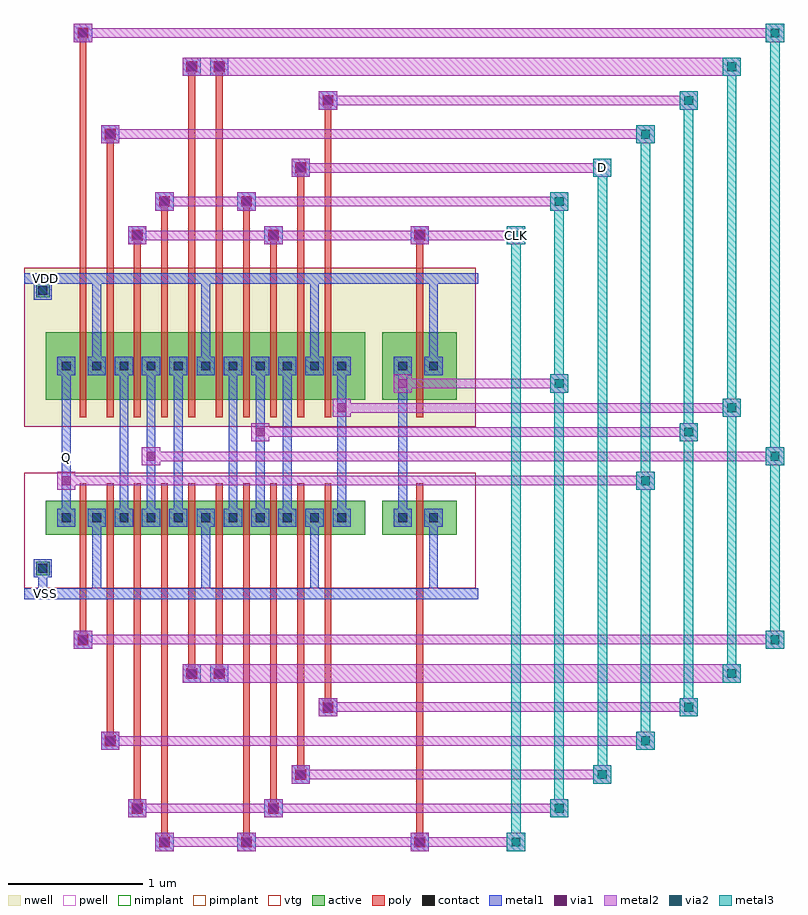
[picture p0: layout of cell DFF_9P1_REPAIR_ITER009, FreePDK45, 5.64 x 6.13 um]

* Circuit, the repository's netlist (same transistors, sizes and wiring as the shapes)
* cell DFF_9P1_REPAIR_ITER009
* pin CLK
* pin D
* pin Q
* pin VDD
* pin VSS
.SUBCKT DFF_9P1_REPAIR_ITER009 1 3 4 12 13
* net 1 CLK
* net 3 D
* net 4 Q
* net 12 VDD
* net 13 VSS
* device instance $1 r0 *1 0.4375,1.73 PMOS_VTG
M$1 12 7 4 12 PMOS_VTG L=0.05U W=0.5U AS=0.12625P AD=0.038125P PS=1.505U
+ PD=0.6525U
* device instance $2 r0 *1 0.64,1.73 PMOS_VTG
M$2 8 4 12 12 PMOS_VTG L=0.05U W=0.5U AS=0.038125P AD=0.0375P PS=0.6525U
+ PD=0.65U
* device instance $3 r0 *1 0.84,1.73 PMOS_VTG
M$3 7 1 8 12 PMOS_VTG L=0.05U W=0.5U AS=0.0375P AD=0.038125P PS=0.65U PD=0.6525U
* device instance $4 r0 *1 1.0425,1.73 PMOS_VTG
M$4 9 2 7 12 PMOS_VTG L=0.05U W=0.5U AS=0.038125P AD=0.038125P PS=0.6525U
+ PD=0.6525U
* device instance $5 r0 *1 1.245,1.73 PMOS_VTG
M$5 12 6 9 12 PMOS_VTG L=0.05U W=0.5U AS=0.038125P AD=0.038125P PS=0.6525U
+ PD=0.6525U
* device instance $6 r0 *1 1.4475,1.73 PMOS_VTG
M$6 10 6 12 12 PMOS_VTG L=0.05U W=0.5U AS=0.038125P AD=0.038125P PS=0.6525U
+ PD=0.6525U
* device instance $7 r0 *1 1.65,1.73 PMOS_VTG
M$7 5 2 10 12 PMOS_VTG L=0.05U W=0.5U AS=0.038125P AD=0.0375P PS=0.6525U
+ PD=0.65U
* device instance $8 r0 *1 1.85,1.73 PMOS_VTG
M$8 11 1 5 12 PMOS_VTG L=0.05U W=0.5U AS=0.0375P AD=0.038125P PS=0.65U
+ PD=0.6525U
* device instance $9 r0 *1 2.0525,1.73 PMOS_VTG
M$9 12 3 11 12 PMOS_VTG L=0.05U W=0.5U AS=0.038125P AD=0.038125P PS=0.6525U
+ PD=0.6525U
* device instance $10 r0 *1 2.255,1.73 PMOS_VTG
M$10 6 5 12 12 PMOS_VTG L=0.05U W=0.5U AS=0.038125P AD=0.12625P PS=0.6525U
+ PD=1.505U
* device instance $11 r0 *1 2.935,1.73 PMOS_VTG
M$11 12 1 2 12 PMOS_VTG L=0.05U W=0.5U AS=0.12625P AD=0.125P PS=1.505U PD=1.5U
* device instance $12 r0 *1 2.935,0.605 NMOS_VTG
M$12 13 1 2 13 NMOS_VTG L=0.05U W=0.25U AS=0.063125P AD=0.0625P PS=1.005U PD=1U
* device instance $13 r0 *1 0.4375,0.605 NMOS_VTG
M$13 13 7 4 13 NMOS_VTG L=0.05U W=0.25U AS=0.063125P AD=0.0190625P PS=1.005U
+ PD=0.4025U
* device instance $14 r0 *1 0.64,0.605 NMOS_VTG
M$14 8 4 13 13 NMOS_VTG L=0.05U W=0.25U AS=0.0190625P AD=0.01875P PS=0.4025U
+ PD=0.4U
* device instance $15 r0 *1 0.84,0.605 NMOS_VTG
M$15 7 2 8 13 NMOS_VTG L=0.05U W=0.25U AS=0.01875P AD=0.0190625P PS=0.4U
+ PD=0.4025U
* device instance $16 r0 *1 1.0425,0.605 NMOS_VTG
M$16 9 1 7 13 NMOS_VTG L=0.05U W=0.25U AS=0.0190625P AD=0.0190625P PS=0.4025U
+ PD=0.4025U
* device instance $17 r0 *1 1.245,0.605 NMOS_VTG
M$17 13 6 9 13 NMOS_VTG L=0.05U W=0.25U AS=0.0190625P AD=0.0190625P PS=0.4025U
+ PD=0.4025U
* device instance $18 r0 *1 1.4475,0.605 NMOS_VTG
M$18 10 6 13 13 NMOS_VTG L=0.05U W=0.25U AS=0.0190625P AD=0.0190625P PS=0.4025U
+ PD=0.4025U
* device instance $19 r0 *1 1.65,0.605 NMOS_VTG
M$19 5 1 10 13 NMOS_VTG L=0.05U W=0.25U AS=0.0190625P AD=0.01875P PS=0.4025U
+ PD=0.4U
* device instance $20 r0 *1 1.85,0.605 NMOS_VTG
M$20 11 2 5 13 NMOS_VTG L=0.05U W=0.25U AS=0.01875P AD=0.0190625P PS=0.4U
+ PD=0.4025U
* device instance $21 r0 *1 2.0525,0.605 NMOS_VTG
M$21 13 3 11 13 NMOS_VTG L=0.05U W=0.25U AS=0.0190625P AD=0.0190625P PS=0.4025U
+ PD=0.4025U
* device instance $22 r0 *1 2.255,0.605 NMOS_VTG
M$22 6 5 13 13 NMOS_VTG L=0.05U W=0.25U AS=0.0190625P AD=0.063125P PS=0.4025U
+ PD=1.005U
.ENDS DFF_9P1_REPAIR_ITER009

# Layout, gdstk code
import gdstk
lib = gdstk.Library(unit=1e-6, precision=2.5e-09)
def R(c, l, rs):  # rectangles x0, y0, x1, y1
    for r in rs: c.add(gdstk.rectangle(r[:2], r[2:], *l))
def A(c, l, x, y, w, h, nx, ny, dx, dy):  # array of equal rectangles
    R(c, l, [(x+i*dx, y+j*dy, x+i*dx+w, y+j*dy+h) for i in range(nx) for j in range(ny)])
active = (1, 0)
pwell = (2, 0)
nwell = (3, 0)
nimplant = (4, 0)
pimplant = (5, 0)
vtg = (6, 0)
poly = (9, 0)
contact = (10, 0)
metal1 = (11, 0)
via1 = (12, 0)
metal2 = (13, 0)
via2 = (14, 0)
metal3 = (15, 0)

dff_9p1_repair_iter009 = lib.new_cell('DFF_9P1_REPAIR_ITER009')
R(dff_9p1_repair_iter009, active, [(0.09,0.18,0.19,0.28), (0.16,0.48,2.5325,0.73), (2.6575,0.48,3.21,0.73), (0.16,1.48,2.5325,1.98), (2.6575,1.48,3.21,1.98), (0.09,2.24,0.19,2.34)])
R(dff_9p1_repair_iter009, pwell, [(0,0.08,3.35,0.94), (0.02,0.24,3.35,0.94)])
R(dff_9p1_repair_iter009, nwell, [(0,1.28,3.35,2.46), (0.02,1.28,3.35,2.2)])
R(dff_9p1_repair_iter009, nimplant, [(0.16,0.48,2.5325,0.73), (2.6575,0.48,3.21,0.73), (0.09,2.24,0.19,2.34)])
R(dff_9p1_repair_iter009, pimplant, [(0.09,0.18,0.19,0.28), (0.16,1.48,2.5325,1.98), (2.6575,1.48,3.21,1.98)])
R(dff_9p1_repair_iter009, vtg, [(0,0.08,3.35,0.94), (0.02,0.24,3.35,0.94), (0,1.28,3.35,2.46), (0.02,1.28,3.35,2.2)])
A(dff_9p1_repair_iter009, poly, 0.815, 0.35, 0.05, 0.51, 5, 1, 0.2025, 0)
A(dff_9p1_repair_iter009, poly, 1.825, 0.35, 0.05, 0.51, 3, 1, 0.2025, 0)
A(dff_9p1_repair_iter009, poly, 0.815, 1.35, 0.05, 0.76, 5, 1, 0.2025, 0)
A(dff_9p1_repair_iter009, poly, 1.825, 1.35, 0.05, 0.76, 3, 1, 0.2025, 0)
R(dff_9p1_repair_iter009, poly, [(1.0025,-1.84,1.0825,-1.76), (1.0175,-1.84,1.0675,0.35), (1.61,-1.84,1.69,-1.76), (1.625,-1.84,1.675,0.35), (2.895,-1.84,2.975,-1.76), (2.91,-1.84,2.96,0.35), (0.8,-1.59,0.88,-1.51), (0.815,-1.59,0.865,0.35), (1.81,-1.59,1.89,-1.51), (1.825,-1.59,1.875,0.35), (2.0125,-1.34,2.0925,-1.26), (2.0275,-1.34,2.0775,0.35), (0.6,-1.09,0.68,-1.01), (0.615,-1.09,0.665,0.35), (2.215,-0.84,2.295,-0.76), (2.23,-0.84,2.28,0.35), (1.205,-0.59,1.285,-0.51), (1.22,-0.59,1.27,0.35), (1.4075,-0.59,1.4875,-0.51), (1.4225,-0.59,1.4725,0.35), (0.3975,-0.34,0.4775,-0.26), (0.4125,-0.34,0.4625,0.35), (0.4125,0.35,0.4625,0.86), (0.615,0.35,0.665,0.86), (2.91,0.35,2.96,0.86), (0.4125,1.35,0.4625,2.11), (0.615,1.35,0.665,2.11), (2.91,1.35,2.96,2.11), (0.4125,2.11,0.4625,4.24), (0.615,2.11,0.665,3.49), (0.815,2.11,0.865,2.74), (1.0175,2.11,1.0675,2.99), (1.22,2.11,1.27,3.99), (1.4225,2.11,1.4725,3.99), (1.625,2.11,1.675,2.99), (1.825,2.11,1.875,2.74), (2.0275,2.11,2.0775,3.24), (2.23,2.11,2.28,3.74), (2.91,2.11,2.96,2.74), (0.8,2.66,0.88,2.74), (1.81,2.66,1.89,2.74), (2.895,2.66,2.975,2.74), (1.0025,2.91,1.0825,2.99), (1.61,2.91,1.69,2.99), (2.0125,3.16,2.0925,3.24), (0.6,3.41,0.68,3.49), (2.215,3.66,2.295,3.74), (1.205,3.91,1.285,3.99), (1.4075,3.91,1.4875,3.99), (0.3975,4.16,0.4775,4.24)])
A(dff_9p1_repair_iter009, contact, 0.91, 0.5725, 0.065, 0.065, 5, 2, 0.2025, 1.125)
A(dff_9p1_repair_iter009, contact, 1.92, 0.5725, 0.065, 0.065, 3, 2, 0.2025, 1.125)
R(dff_9p1_repair_iter009, contact, [(1.01,-1.8325,1.075,-1.7675), (1.6175,-1.8325,1.6825,-1.7675), (2.9025,-1.8325,2.9675,-1.7675), (0.8075,-1.5825,0.8725,-1.5175), (1.8175,-1.5825,1.8825,-1.5175), (2.02,-1.3325,2.085,-1.2675), (0.6075,-1.0825,0.6725,-1.0175), (2.2225,-0.8325,2.2875,-0.7675), (1.2125,-0.5825,1.2775,-0.5175), (1.415,-0.5825,1.48,-0.5175), (0.405,-0.3325,0.47,-0.2675), (0.1075,0.1975,0.1725,0.2625), (0.28,0.5725,0.345,0.6375), (0.5075,0.5725,0.5725,0.6375), (0.71,0.5725,0.775,0.6375), (2.7775,0.5725,2.8425,0.6375), (3.005,0.5725,3.07,0.6375), (0.28,1.6975,0.345,1.7625), (0.5075,1.6975,0.5725,1.7625), (0.71,1.6975,0.775,1.7625), (2.7775,1.6975,2.8425,1.7625), (3.005,1.6975,3.07,1.7625), (0.1075,2.2575,0.1725,2.3225), (0.8075,2.6675,0.8725,2.7325), (1.8175,2.6675,1.8825,2.7325), (2.9025,2.6675,2.9675,2.7325), (1.01,2.9175,1.075,2.9825), (1.6175,2.9175,1.6825,2.9825), (2.02,3.1675,2.085,3.2325), (0.6075,3.4175,0.6725,3.4825), (2.2225,3.6675,2.2875,3.7325), (1.2125,3.9175,1.2775,3.9825), (1.415,3.9175,1.48,3.9825), (0.405,4.1675,0.47,4.2325)])
A(dff_9p1_repair_iter009, metal1, 0.5075, 0.04, 0.065, 0.565, 3, 1, 0.8075, 0)
A(dff_9p1_repair_iter009, metal1, 0.875, 0.5375, 0.135, 0.135, 5, 2, 0.2025, 1.125)
A(dff_9p1_repair_iter009, metal1, 1.885, 0.5375, 0.135, 0.135, 3, 2, 0.2025, 1.125)
A(dff_9p1_repair_iter009, metal1, 0.5075, 1.73, 0.065, 0.65, 3, 1, 0.8075, 0)
R(dff_9p1_repair_iter009, metal1, [(0.975,-1.8675,1.11,-1.7325), (1.5825,-1.8675,1.7175,-1.7325), (2.8675,-1.8675,3.0025,-1.7325), (0.7725,-1.6175,0.9075,-1.4825), (1.7825,-1.6175,1.9175,-1.4825), (1.985,-1.3675,2.12,-1.2325), (0.5725,-1.1175,0.7075,-0.9825), (2.1875,-0.8675,2.3225,-0.7325), (1.1775,-0.6175,1.3125,-0.4825), (1.38,-0.6175,1.515,-0.4825), (0.37,-0.3675,0.505,-0.2325), (0,0,3.37,0.08), (0.1075,0.04,0.1725,0.23), (3.005,0.04,3.07,0.605), (0.0725,0.1625,0.2075,0.2975), (0.245,0.5375,0.38,0.6725), (0.4725,0.5375,0.6075,0.6725), (0.675,0.5375,0.81,0.6725), (2.7425,0.5375,2.8775,0.6725), (2.97,0.5375,3.105,0.6725), (0.28,0.605,0.345,1.73), (0.71,0.605,0.775,1.73), (0.91,0.605,0.975,1.73), (1.1125,0.605,1.1775,1.73), (1.5175,0.605,1.5825,1.73), (1.72,0.605,1.785,1.73), (1.92,0.605,1.985,1.73), (2.325,0.605,2.39,1.73), (2.7775,0.605,2.8425,1.73), (0.245,1.6625,0.38,1.7975), (0.4725,1.6625,0.6075,1.7975), (0.675,1.6625,0.81,1.7975), (2.7425,1.6625,2.8775,1.7975), (2.97,1.6625,3.105,1.7975), (3.005,1.73,3.07,2.38), (0.0725,2.2225,0.2075,2.3575), (0.1075,2.29,0.1725,2.38), (0,2.34,3.37,2.42), (0.7725,2.6325,0.9075,2.7675), (1.7825,2.6325,1.9175,2.7675), (2.8675,2.6325,3.0025,2.7675), (0.975,2.8825,1.11,3.0175), (1.5825,2.8825,1.7175,3.0175), (1.985,3.1325,2.12,3.2675), (0.5725,3.3825,0.7075,3.5175), (2.1875,3.6325,2.3225,3.7675), (1.1775,3.8825,1.3125,4.0175), (1.38,3.8825,1.515,4.0175), (0.37,4.1325,0.505,4.2675)])
R(dff_9p1_repair_iter009, via1, [(1.01,-1.8325,1.075,-1.7675), (1.6175,-1.8325,1.6825,-1.7675), (2.9025,-1.8325,2.9675,-1.7675), (0.8075,-1.5825,0.8725,-1.5175), (1.8175,-1.5825,1.8825,-1.5175), (2.02,-1.3325,2.085,-1.2675), (0.6075,-1.0825,0.6725,-1.0175), (2.2225,-0.8325,2.2875,-0.7675), (1.2125,-0.5825,1.2775,-0.5175), (1.415,-0.5825,1.48,-0.5175), (0.405,-0.3325,0.47,-0.2675), (0.28,0.8475,0.345,0.9125), (0.91,1.0275,0.975,1.0925), (1.72,1.2075,1.785,1.2725), (2.325,1.3875,2.39,1.4525), (2.7775,1.5675,2.8425,1.6325), (0.8075,2.6675,0.8725,2.7325), (1.8175,2.6675,1.8825,2.7325), (2.9025,2.6675,2.9675,2.7325), (1.01,2.9175,1.075,2.9825), (1.6175,2.9175,1.6825,2.9825), (2.02,3.1675,2.085,3.2325), (0.6075,3.4175,0.6725,3.4825), (2.2225,3.6675,2.2875,3.7325), (1.2125,3.9175,1.2775,3.9825), (1.415,3.9175,1.48,3.9825), (0.405,4.1675,0.47,4.2325)])
R(dff_9p1_repair_iter009, metal2, [(0.975,-1.8675,1.11,-1.7325), (1.5825,-1.8675,1.7175,-1.7325), (2.8675,-1.8675,3.0025,-1.7325), (3.5825,-1.8675,3.7175,-1.7325), (3.5825,-1.8675,3.7175,-1.7325), (3.5825,-1.8675,3.7175,-1.7325), (1.0075,-1.835,3.685,-1.765), (1.615,-1.835,3.685,-1.765), (2.9,-1.835,3.685,-1.765), (0.7725,-1.6175,0.9075,-1.4825), (1.7825,-1.6175,1.9175,-1.4825), (3.9025,-1.6175,4.0375,-1.4825), (3.9025,-1.6175,4.0375,-1.4825), (0.805,-1.585,4.005,-1.515), (1.815,-1.585,4.005,-1.515), (1.985,-1.3675,2.12,-1.2325), (4.2225,-1.3675,4.3575,-1.2325), (2.0175,-1.335,4.325,-1.265), (0.5725,-1.1175,0.7075,-0.9825), (4.5425,-1.1175,4.6775,-0.9825), (0.605,-1.085,4.645,-1.015), (2.1875,-0.8675,2.3225,-0.7325), (4.8625,-0.8675,4.9975,-0.7325), (2.22,-0.835,4.965,-0.765), (1.1775,-0.6175,1.3125,-0.4825), (1.1775,-0.6175,5.3175,-0.4825), (1.38,-0.6175,1.515,-0.4825), (5.1825,-0.6175,5.3175,-0.4825), (5.1825,-0.6175,5.3175,-0.4825), (1.21,-0.585,5.285,-0.515), (1.4125,-0.585,5.285,-0.515), (0.37,-0.3675,0.505,-0.2325), (5.5025,-0.3675,5.6375,-0.2325), (0.4025,-0.335,5.605,-0.265), (0.245,0.8125,0.38,0.9475), (4.5425,0.8125,4.6775,0.9475), (0.2775,0.845,4.645,0.915), (0.875,0.9925,1.01,1.1275), (5.5025,0.9925,5.6375,1.1275), (0.9075,1.025,5.605,1.095), (1.685,1.1725,1.82,1.3075), (4.8625,1.1725,4.9975,1.3075), (1.7175,1.205,4.965,1.275), (2.29,1.3525,2.425,1.4875), (5.1825,1.3525,5.3175,1.4875), (2.3225,1.385,5.285,1.455), (2.7425,1.5325,2.8775,1.6675), (3.9025,1.5325,4.0375,1.6675), (2.775,1.565,4.005,1.635), (0.7725,2.6325,0.9075,2.7675), (1.7825,2.6325,1.9175,2.7675), (2.8675,2.6325,3.0025,2.7675), (3.5825,2.6325,3.7175,2.7675), (3.5825,2.6325,3.7175,2.7675), (3.5825,2.6325,3.7175,2.7675), (0.805,2.665,3.685,2.735), (1.815,2.665,3.685,2.735), (2.9,2.665,3.685,2.735), (0.975,2.8825,1.11,3.0175), (1.5825,2.8825,1.7175,3.0175), (3.9025,2.8825,4.0375,3.0175), (3.9025,2.8825,4.0375,3.0175), (1.0075,2.915,4.005,2.985), (1.615,2.915,4.005,2.985), (1.985,3.1325,2.12,3.2675), (4.2225,3.1325,4.3575,3.2675), (2.0175,3.165,4.325,3.235), (0.5725,3.3825,0.7075,3.5175), (4.5425,3.3825,4.6775,3.5175), (0.605,3.415,4.645,3.485), (2.1875,3.6325,2.3225,3.7675), (4.8625,3.6325,4.9975,3.7675), (2.22,3.665,4.965,3.735), (1.1775,3.8825,1.3125,4.0175), (1.1775,3.8825,5.3175,4.0175), (1.38,3.8825,1.515,4.0175), (5.1825,3.8825,5.3175,4.0175), (5.1825,3.8825,5.3175,4.0175), (1.21,3.915,5.285,3.985), (1.4125,3.915,5.285,3.985), (0.37,4.1325,0.505,4.2675), (5.5025,4.1325,5.6375,4.2675), (0.4025,4.165,5.605,4.235)])
R(dff_9p1_repair_iter009, via2, [(3.6175,-1.8325,3.6825,-1.7675), (3.6175,-1.8325,3.6825,-1.7675), (3.6175,-1.8325,3.6825,-1.7675), (3.9375,-1.5825,4.0025,-1.5175), (3.9375,-1.5825,4.0025,-1.5175), (4.2575,-1.3325,4.3225,-1.2675), (4.5775,-1.0825,4.6425,-1.0175), (4.8975,-0.8325,4.9625,-0.7675), (5.2175,-0.5825,5.2825,-0.5175), (5.2175,-0.5825,5.2825,-0.5175), (5.5375,-0.3325,5.6025,-0.2675), (4.5775,0.8475,4.6425,0.9125), (5.5375,1.0275,5.6025,1.0925), (4.8975,1.2075,4.9625,1.2725), (5.2175,1.3875,5.2825,1.4525), (3.9375,1.5675,4.0025,1.6325), (3.6175,2.6675,3.6825,2.7325), (3.6175,2.6675,3.6825,2.7325), (3.6175,2.6675,3.6825,2.7325), (3.9375,2.9175,4.0025,2.9825), (3.9375,2.9175,4.0025,2.9825), (4.2575,3.1675,4.3225,3.2325), (4.5775,3.4175,4.6425,3.4825), (4.8975,3.6675,4.9625,3.7325), (5.2175,3.9175,5.2825,3.9825), (5.2175,3.9175,5.2825,3.9825), (5.5375,4.1675,5.6025,4.2325)])
R(dff_9p1_repair_iter009, metal3, [(3.5825,-1.8675,3.7175,-1.7325), (3.5825,-1.8675,3.7175,-1.7325), (3.5825,-1.8675,3.7175,-1.7325), (3.615,-1.835,3.685,2.735), (3.9025,-1.6175,4.0375,-1.4825), (3.9025,-1.6175,4.0375,-1.4825), (3.935,-1.585,4.005,2.985), (4.2225,-1.3675,4.3575,-1.2325), (4.255,-1.335,4.325,3.235), (4.5425,-1.1175,4.6775,-0.9825), (4.575,-1.085,4.645,3.485), (4.8625,-0.8675,4.9975,-0.7325), (4.895,-0.835,4.965,3.735), (5.1825,-0.6175,5.3175,-0.4825), (5.1825,-0.6175,5.3175,-0.4825), (5.215,-0.585,5.285,3.985), (5.5025,-0.3675,5.6375,-0.2325), (5.535,-0.335,5.605,4.235), (4.5425,0.8125,4.6775,0.9475), (5.5025,0.9925,5.6375,1.1275), (4.8625,1.1725,4.9975,1.3075), (5.1825,1.3525,5.3175,1.4875), (3.9025,1.5325,4.0375,1.6675), (3.5825,2.6325,3.7175,2.7675), (3.5825,2.6325,3.7175,2.7675), (3.5825,2.6325,3.7175,2.7675), (3.9025,2.8825,4.0375,3.0175), (3.9025,2.8825,4.0375,3.0175), (4.2225,3.1325,4.3575,3.2675), (4.5425,3.3825,4.6775,3.5175), (4.8625,3.6325,4.9975,3.7675), (5.1825,3.8825,5.3175,4.0175), (5.1825,3.8825,5.3175,4.0175), (5.5025,4.1325,5.6375,4.2675)])
dff_9p1_repair_iter009.add(gdstk.Label('VDD', (0.16,2.38), layer=11, texttype=0))
dff_9p1_repair_iter009.add(gdstk.Label('VSS', (0.16,0.04), layer=11, texttype=0))
dff_9p1_repair_iter009.add(gdstk.Label('Q', (0.3125,1.05), layer=11, texttype=0))
dff_9p1_repair_iter009.add(gdstk.Label('CLK', (3.65,2.7), layer=15, texttype=0))
dff_9p1_repair_iter009.add(gdstk.Label('D', (4.29,3.2), layer=15, texttype=0))

lib.write_gds('DFF_9P1_REPAIR_ITER009.gds')
